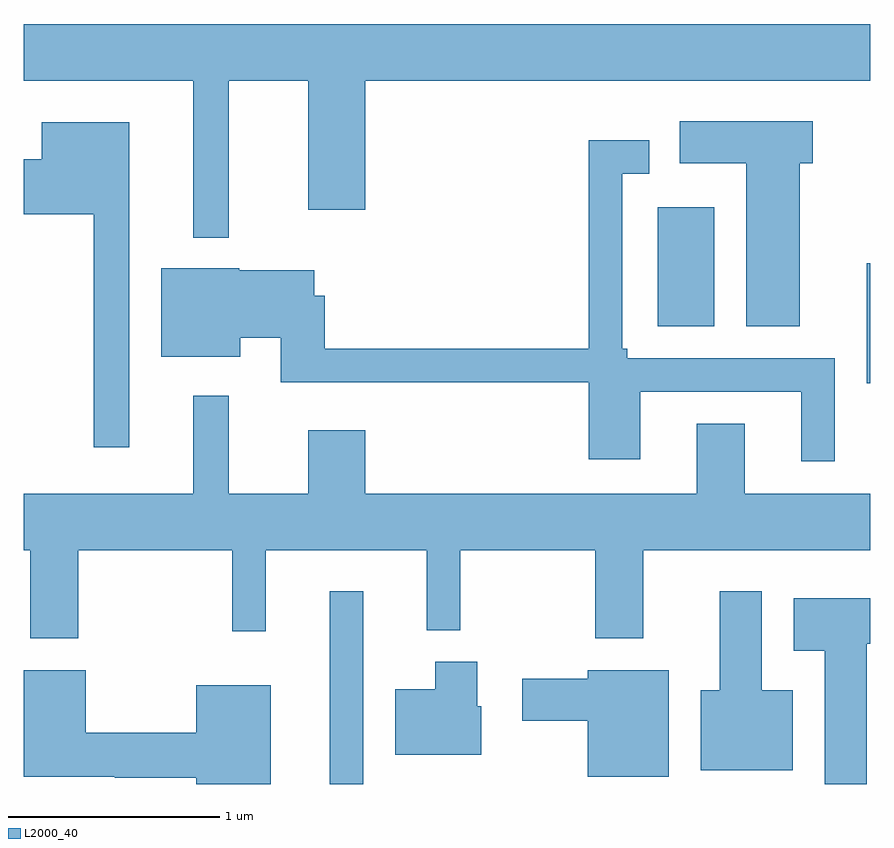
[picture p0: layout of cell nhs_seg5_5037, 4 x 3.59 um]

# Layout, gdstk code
import gdstk
lib = gdstk.Library(unit=1e-6, precision=1e-09)
def R(c, l, rs):  # rectangles x0, y0, x1, y1
    for r in rs: c.add(gdstk.rectangle(r[:2], r[2:], *l))
def P(c, l, *ps):  # polygons
    for p in ps: c.add(gdstk.Polygon(p, *l))
L2000_40 = (2000, 40)

nhs_seg5_5037 = lib.new_cell('nhs_seg5_5037')
R(nhs_seg5_5037, L2000_40, [(335.056,1520.072,335.214,1520.983), (337.596,1521.966,337.611,1522.534), (336.606,1522.236,336.874,1522.799)])
P(nhs_seg5_5037, L2000_40, [(334.579,1523.396),(334.956,1523.396),(334.956,1522.786),(335.224,1522.786),(335.224,1523.396),(337.611,1523.396),(337.611,1523.664),(333.611,1523.664),(333.611,1523.396),(334.411,1523.396),(334.411,1522.653),(334.579,1522.653)],
  [(337.279,1523.006),(337.339,1523.006),(337.339,1523.204),(336.711,1523.204),(336.711,1523.006),(337.026,1523.006),(337.026,1522.236),(337.279,1522.236)],
  [(334.109,1523.199),(333.696,1523.199),(333.696,1523.024),(333.611,1523.024),(333.611,1522.766),(333.941,1522.766),(333.941,1521.663),(334.109,1521.663)],
  [(337.444,1522.084),(336.464,1522.084),(336.464,1522.129),(336.439,1522.129),(336.439,1522.956),(336.568,1522.956),(336.568,1523.114),(336.281,1523.114),(336.281,1522.129),(335.034,1522.129),(335.034,1522.379),(334.984,1522.379),(334.984,1522.499),(334.63,1522.499),(334.63,1522.509),(334.261,1522.509),(334.261,1522.091),(334.634,1522.091),(334.634,1522.181),(334.826,1522.181),(334.826,1521.971),(336.281,1521.971),(336.281,1521.606),(336.524,1521.606),(336.524,1521.926),(337.286,1521.926),(337.286,1521.598),(337.444,1521.598)],
  [(333.869,1521.176),(334.596,1521.176),(334.596,1520.793),(334.754,1520.793),(334.754,1521.176),(335.516,1521.176),(335.516,1520.798),(335.674,1520.798),(335.674,1521.176),(336.311,1521.176),(336.311,1520.761),(336.539,1520.761),(336.539,1521.176),(337.611,1521.176),(337.611,1521.444),(337.019,1521.444),(337.019,1521.774),(336.791,1521.774),(336.791,1521.444),(335.224,1521.444),(335.224,1521.744),(334.956,1521.744),(334.956,1521.444),(334.579,1521.444),(334.579,1521.908),(334.411,1521.908),(334.411,1521.444),(333.611,1521.444),(333.611,1521.176),(333.641,1521.176),(333.641,1520.761),(333.869,1520.761)],
  [(337.244,1520.514),(337.099,1520.514),(337.099,1520.984),(336.901,1520.984),(336.901,1520.514),(336.811,1520.514),(336.811,1520.136),(337.244,1520.136)],
  [(337.594,1520.736),(337.611,1520.736),(337.611,1520.949),(337.251,1520.949),(337.251,1520.701),(337.396,1520.701),(337.396,1520.072),(337.594,1520.072)],
  [(335.774,1520.439),(335.754,1520.439),(335.754,1520.649),(335.556,1520.649),(335.556,1520.519),(335.366,1520.519),(335.366,1520.211),(335.774,1520.211)],
  [(336.659,1520.609),(336.276,1520.609),(336.276,1520.569),(335.966,1520.569),(335.966,1520.371),(336.276,1520.371),(336.276,1520.106),(336.659,1520.106)],
  [(334.779,1520.539),(334.426,1520.539),(334.426,1520.314),(333.904,1520.314),(333.904,1520.609),(333.611,1520.609),(333.611,1520.106),(334.04,1520.106),(334.04,1520.101),(334.426,1520.101),(334.426,1520.072),(334.779,1520.072)])

lib.write_gds('nhs_seg5_5037.gds')
